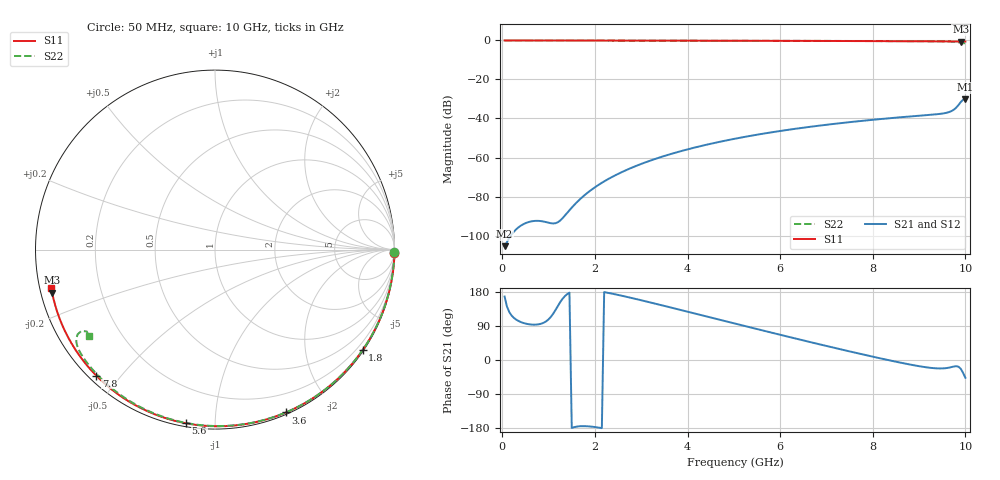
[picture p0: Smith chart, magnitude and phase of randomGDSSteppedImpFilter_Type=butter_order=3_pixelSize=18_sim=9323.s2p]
! freq	dB(S11)	phase(S11)	dB(S12)	phase(S12)
!  dB(S21)	phase(S21)	dB(S22)	phase(S22)
!S-par simulation data
#  GHz  S  DB  R 50
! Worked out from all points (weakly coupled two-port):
!   200 points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, 50 MHz to 10 GHz, reference 50 ohm
!   highest |S21| = -30.14 dB at 10 GHz (marker M1); lowest = -105.4 dB at 50 MHz (marker M2)
!   lowest |S11| = -0.5 dB at 9.9 GHz (marker M3), VSWR 31.75, Z = 1.6 - j6.47 ohm
!   |S11| at or under -10 dB: nowhere
!   |S22| runs from -1.4 to 0.0 dB; largest |S21 - S12| = 0
!   S11 on the Smith chart (normalised r, x): 50 MHz: open; 1.8 GHz: 0.03, -3.25; 3.6 GHz: 0.02, -1.53; 5.6 GHz: 0.02, -0.85; 7.8 GHz: 0.02, -0.43; 10 GHz: 0.03, -0.12
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0.05  -0.00 -1.0  -105.44 167.4  -105.44 167.4  -0.00 -0.9
0.85  -0.02 -16.3  -92.64 96.2  -92.64 96.2  -0.02 -14.4
1.75  -0.04 -33.3  -79.83 -174.5  -79.83 -174.5  -0.04 -29.5
1.8  -0.04 -34.2  -78.83 -174.6  -78.83 -174.6  -0.04 -30.3
2.1  -0.05 -39.7  -73.69 -178.7  -73.69 -178.7  -0.05 -35.2
2.5  -0.06 -47.0  -68.40 171.8  -68.40 171.8  -0.05 -41.7
2.9  -0.07 -54.2  -64.21 160.6  -64.21 160.6  -0.06 -48.1
3.4  -0.08 -63.0  -59.95 145.8  -59.95 145.8  -0.07 -55.9
3.6  -0.09 -66.5  -58.48 139.7  -58.48 139.7  -0.08 -59.0
4.3  -0.11 -78.3  -54.05 118.3  -54.05 118.3  -0.10 -69.7
5.05  -0.14 -90.7  -50.24 95.4  -50.24 95.4  -0.12 -80.7
5.6  -0.17 -99.5  -47.91 78.6  -47.91 78.6  -0.15 -88.6
6.7  -0.23 -116.6  -44.09 45.8  -44.09 45.8  -0.20 -103.9
7.8  -0.31 -133.3  -41.13 14.3  -41.13 14.3  -0.28 -118.6
8.35  -0.36 -141.6  -39.88 -0.6  -39.88 -0.6  -0.32 -125.9
9.1  -0.45 -153.0  -38.39 -18.3  -38.39 -18.3  -0.40 -136.0
9.6  -0.51 -160.7  -37.03 -21.2  -37.03 -21.2  -0.51 -143.5
9.75  -0.53 -163.0  -35.49 -17.2  -35.49 -17.2  -0.65 -146.3
9.8  -0.54 -163.7  -34.48 -16.4  -34.48 -16.4  -0.75 -147.4
9.9  -0.55 -165.2  -31.58 -23.2  -31.58 -23.2  -1.20 -148.7
9.95  -0.55 -166.0  -30.40 -34.0  -30.40 -34.0  -1.44 -147.4
10  -0.54 -166.8  -30.14 -46.9  -30.14 -46.9  -1.40 -145.6
